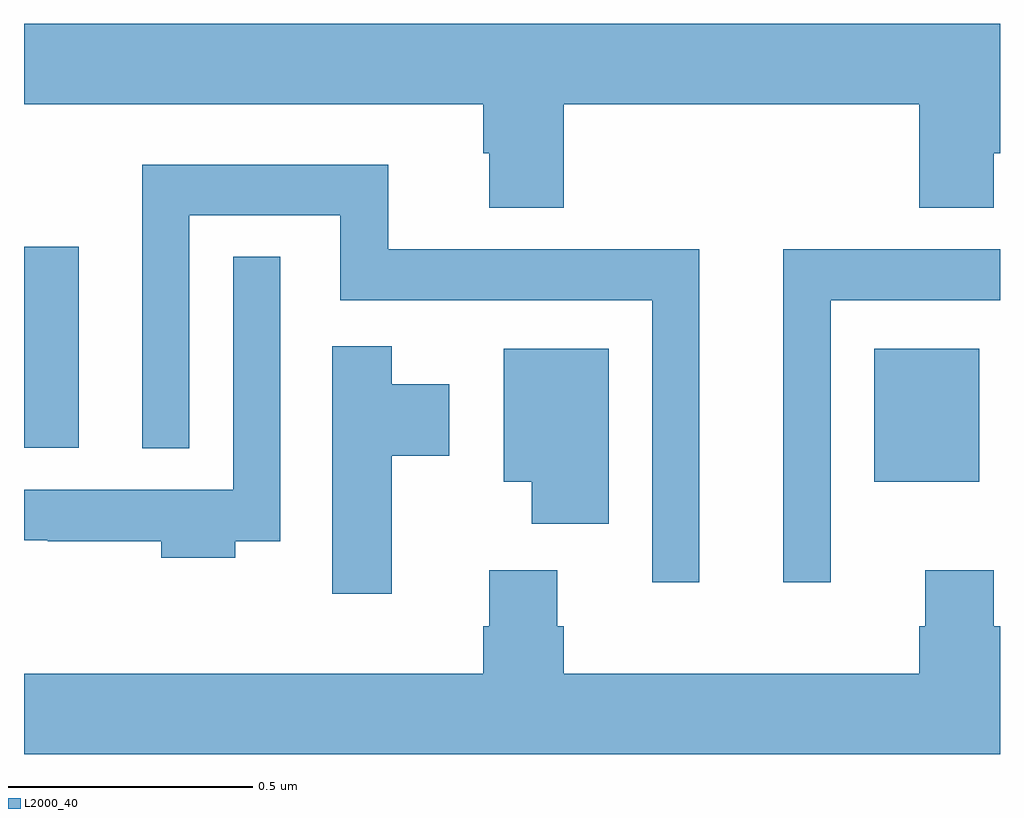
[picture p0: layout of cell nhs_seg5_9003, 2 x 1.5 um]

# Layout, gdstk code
import gdstk
lib = gdstk.Library(unit=1e-6, precision=1e-09)
def R(c, l, rs):  # rectangles x0, y0, x1, y1
    for r in rs: c.add(gdstk.rectangle(r[:2], r[2:], *l))
def P(c, l, *ps):  # polygons
    for p in ps: c.add(gdstk.Polygon(p, *l))
L2000_40 = (2000, 40)

nhs_seg5_9003 = lib.new_cell('nhs_seg5_9003')
R(nhs_seg5_9003, L2000_40, [(229.742,894.614,229.957,894.886), (228,894.684,228.112,895.095)])
P(nhs_seg5_9003, L2000_40, [(229.106,895.388),(229.835,895.388),(229.835,895.175),(229.987,895.175),(229.987,895.287),(230,895.287),(230,895.552),(228,895.552),(228,895.388),(228.941,895.388),(228.941,895.287),(228.953,895.287),(228.953,895.175),(229.106,895.175)],
  [(229.384,895.09),(228.746,895.09),(228.746,895.264),(228.242,895.264),(228.242,894.683),(228.339,894.683),(228.339,895.16),(228.648,895.16),(228.648,894.986),(229.287,894.986),(229.287,894.408),(229.384,894.408)],
  [(229.653,894.986),(230,894.986),(230,895.09),(229.556,895.09),(229.556,894.408),(229.653,894.408)],
  [(228.433,894.492),(228.525,894.492),(228.525,895.075),(228.429,895.075),(228.429,894.598),(228,894.598),(228,894.494),(228.049,894.494),(228.049,894.492),(228.281,894.492),(228.281,894.458),(228.433,894.458)],
  [(228.754,894.667),(228.871,894.667),(228.871,894.814),(228.754,894.814),(228.754,894.892),(228.632,894.892),(228.632,894.384),(228.754,894.384)],
  [(229.198,894.886),(228.983,894.886),(228.983,894.614),(229.04,894.614),(229.04,894.528),(229.198,894.528)],
  [(230,894.318),(229.987,894.318),(229.987,894.433),(229.847,894.433),(229.847,894.318),(229.835,894.318),(229.835,894.22),(229.106,894.22),(229.106,894.318),(229.093,894.318),(229.093,894.433),(228.953,894.433),(228.953,894.318),(228.941,894.318),(228.941,894.22),(228,894.22),(228,894.056),(230,894.056)])

lib.write_gds('nhs_seg5_9003.gds')
